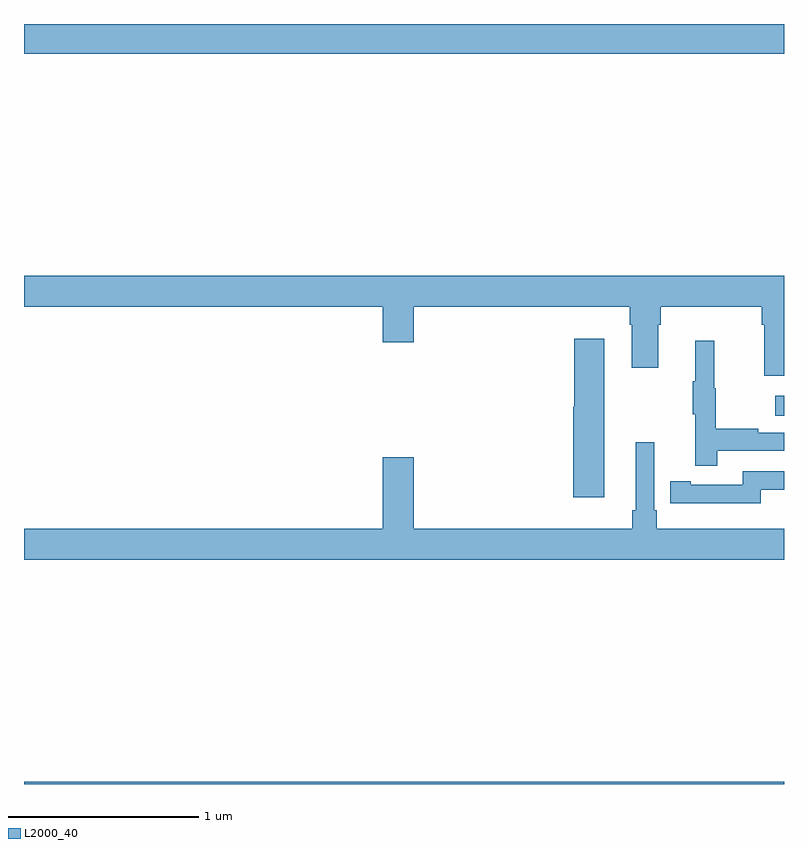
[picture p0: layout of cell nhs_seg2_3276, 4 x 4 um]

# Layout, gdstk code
import gdstk
lib = gdstk.Library(unit=1e-6, precision=1e-09)
def R(c, l, rs):  # rectangles x0, y0, x1, y1
    for r in rs: c.add(gdstk.rectangle(r[:2], r[2:], *l))
def P(c, l, *ps):  # polygons
    for p in ps: c.add(gdstk.Polygon(p, *l))
L2000_40 = (2000, 40)

nhs_seg2_3276 = lib.new_cell('nhs_seg2_3276')
R(nhs_seg2_3276, L2000_40, [(283,635.8,287,635.812), (286.953,637.739,287,637.843), (283,639.644,287,639.8)])
P(nhs_seg2_3276, L2000_40, [(287,638.476),(283,638.476),(283,638.312),(284.888,638.312),(284.888,638.124),(285.052,638.124),(285.052,638.312),(286.187,638.312),(286.187,638.216),(286.199,638.216),(286.199,637.992),(286.339,637.992),(286.339,638.216),(286.352,638.216),(286.352,638.312),(286.883,638.312),(286.883,638.216),(286.895,638.216),(286.895,637.95),(287,637.95)],
  [(286.054,638.143),(285.896,638.143),(285.896,637.785),(285.89,637.785),(285.89,637.308),(286.054,637.308)],
  [(286.649,637.554),(287,637.554),(287,637.65),(286.865,637.65),(286.865,637.67),(286.642,637.67),(286.642,637.884),(286.634,637.884),(286.634,638.134),(286.532,638.134),(286.532,637.921),(286.521,637.921),(286.521,637.747),(286.532,637.747),(286.532,637.476),(286.649,637.476)],
  [(286.878,637.35),(287,637.35),(287,637.446),(286.782,637.446),(286.782,637.374),(286.51,637.374),(286.51,637.394),(286.402,637.394),(286.402,637.278),(286.51,637.278),(286.51,637.277),(286.878,637.277)],
  [(286.317,637.24),(286.317,637.6),(286.22,637.6),(286.22,637.24),(286.201,637.24),(286.201,637.144),(285.052,637.144),(285.052,637.519),(284.888,637.519),(284.888,637.144),(283,637.144),(283,636.98),(287,636.98),(287,637.144),(286.331,637.144),(286.331,637.24)])

lib.write_gds('nhs_seg2_3276.gds')
